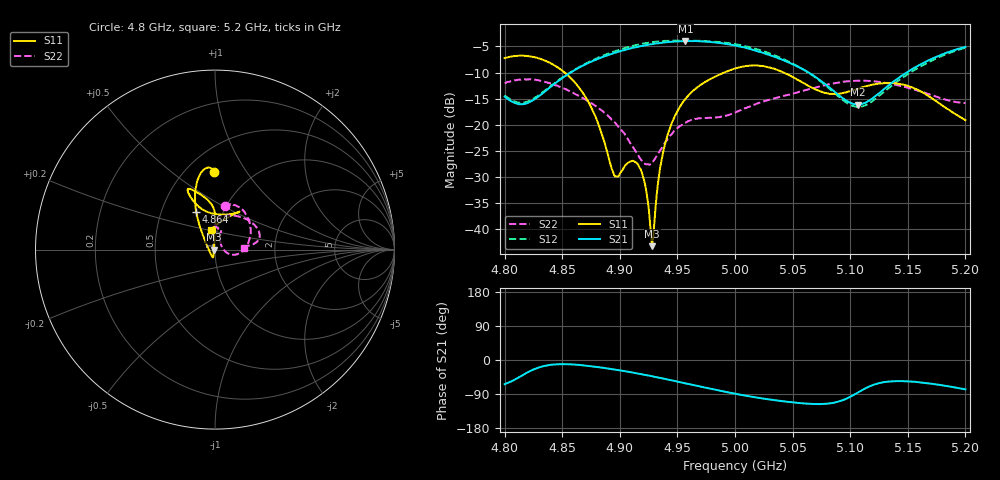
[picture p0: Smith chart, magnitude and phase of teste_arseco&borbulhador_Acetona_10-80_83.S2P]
! Network Analyzer HP8722D
! Hewlett-Packard
! Data name: Linha & Wilkinson
! Saver's name: Rodrigo Anjos
! Comments: Teste da utilização de aquisição
! continua pelo VNA HP8722D
! Time and date: 25/4/2025 15:57
!  Frequency  S11  S21  S12  S22
# HZ  S  MA R 50
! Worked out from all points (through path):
!   401 points, 4.8 GHz to 5.2 GHz, reference 50 ohm
!   highest |S21| = -3.97 dB at 4.957 GHz (marker M1); lowest = -16.1 dB at 5.107 GHz (marker M2)
!   lowest |S11| = -43.2 dB at 4.928 GHz (marker M3), VSWR 1.01, Z = 49.3 - j0.117 ohm
!   |S11| at or under -10 dB: 4.852 GHz to 4.991 GHz (138.6 MHz wide, 2.82 % of centre); 5.042 GHz to end of sweep
!   |S22| runs from -27.6 to -11.3 dB; largest |S21 - S12| = 1.2
!   S11 on the Smith chart (normalised r, x): 4.8 GHz: 0.68, +0.72; 4.864 GHz: 0.75, +0.33; 5.2 GHz: 0.94, +0.21
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4.8e9  0.434 90.7  0.186 -63.9  0.191 69.7  0.2495 77.1
4.82e9  0.4534 97.0  0.1614 -32.5  0.1669 98.3  0.2719 61.7
4.844e9  0.3661 106.8  0.2501 -11.7  0.2534 119.1  0.239 35.5
4.864e9  0.2318 116.5  0.3497 -12.7  0.353 121.0  0.1904 12.0
4.867e9  0.2087 118.3  0.3642 -13.8  0.3672 120.7  0.1828 8.8
4.88e9  0.1117 128.7  0.4238 -18.3  0.4325 118.3  0.1482 -5.2
4.896e9  0.03204 -165.8  0.4892 -25.4  0.5073 113.2  0.1048 -16.1
4.91e9  0.04495 -106.5  0.54 -32.5  0.564 107.1  0.06452 -14.0
4.917e9  0.03902 -103.0  0.5623 -36.5  0.5892 103.5  0.04856 -1.3
4.922e9  0.02656 -107.0  0.576 -39.2  0.6031 100.8  0.04214 15.1
4.928e9  0.006898 -170.1  0.5901 -42.8  0.6177 97.1  0.04445 40.6
4.93e9  0.01172 123.6  0.5967 -44.2  0.6212 95.8  0.04633 48.2
4.934e9  0.03254 99.8  0.6027 -46.9  0.6291 93.2  0.05449 58.1
4.943e9  0.08949 90.7  0.62 -52.5  0.6359 87.5  0.07688 69.0
4.957e9  0.1774 89.3  0.6334 -61.5  0.6405 78.7  0.1047 71.5
5e9  0.3452 109.0  0.573 -89.0  0.592 50.8  0.1308 88.6
5.031e9  0.3509 115.1  0.4602 -104.7  0.4765 33.4  0.1753 84.6
5.067e9  0.2259 105.2  0.3015 -115.9  0.2985 23.5  0.2222 57.2
5.107e9  0.2221 63.9  0.1561 -85.3  0.1482 57.7  0.2639 24.2
5.134e9  0.2513 57.3  0.2405 -56.8  0.2265 88.6  0.2481 12.4
5.169e9  0.1851 69.9  0.4188 -62.1  0.4022 85.0  0.1946 6.9
5.2e9  0.1108 100.5  0.5561 -77.5  0.5443 70.1  0.1613 3.8
